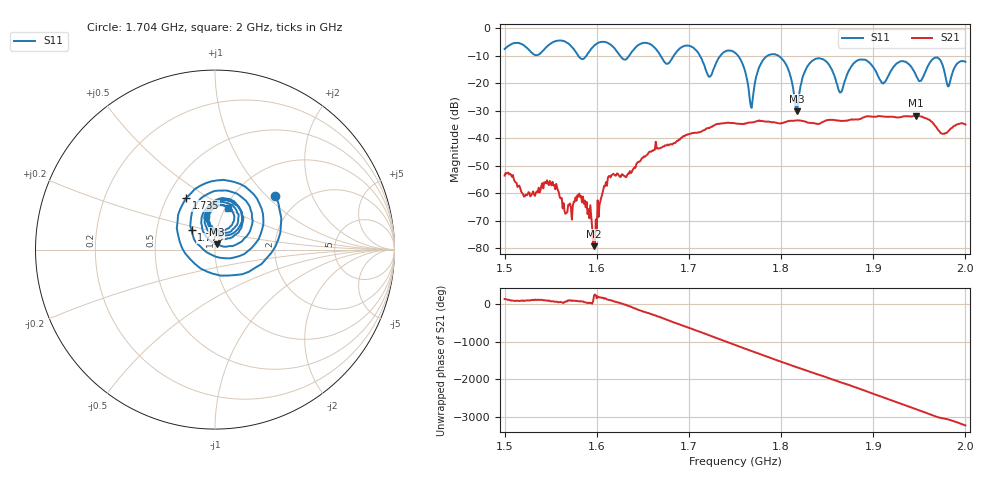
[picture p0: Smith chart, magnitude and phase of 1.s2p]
! NanoVNA-App by SYSJOINT et al v1.1.209 (+OD18)
! Date: 2026-01-21 14:43:31
! Start: 1,5GHz Stop: 2GHz Points: 501
! S-Parameter data: F S11 S21 S12 S22
# Hz S RI R 50
!  Frequency  S11_Real  S11_Imag  S21_Real  S21_Imag  S12_Real  S12_Imag  S22_Real  S22_Imag
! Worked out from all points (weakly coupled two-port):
!   501 points, 1.5 GHz to 2 GHz, reference 50 ohm
!   highest |S21| = -31.81 dB at 1.946 GHz (marker M1); lowest = -79.2 dB at 1.597 GHz (marker M2)
!   lowest |S11| = -30.2 dB at 1.817 GHz (marker M3), VSWR 1.06, Z = 50.8 + j3.01 ohm
!   |S11| at or under -10 dB: 1.712 GHz to 1.734 GHz (22.32 MHz wide, 1.3 % of centre); 1.753 GHz to 1.786 GHz (32.42 MHz wide, 1.83 % of centre); 1.797 GHz to end of sweep (the widest 3 of 6)
!   S12 and S22 are empty: the file has one direction only
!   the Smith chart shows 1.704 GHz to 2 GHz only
!   S11 on the Smith chart (normalised r, x): 1.704 GHz: 1.51, +1.13; 1.735 GHz: 0.62, +0.40; 1.775 GHz: 0.75, +0.17; 2 GHz: 1.03, +0.51
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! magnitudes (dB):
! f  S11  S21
! 1.5 GHz  -7.6  -53.6
! 1.567 GHz  -5.2  -67.1
! 1.584 GHz  -11.2  -63.3
! 1.597 GHz  -6.4  -79.2
! 1.614 GHz  -5.8  -53.7
! 1.667 GHz  -8.8  -43.8
! 1.704 GHz  -6.9  -38.1
! 1.722 GHz  -17.7  -36.3
! 1.735 GHz  -9.6  -34.7
! 1.75 GHz  -9.0  -34.6
! 1.767 GHz  -28.1  -34.3
! 1.775 GHz  -15.4  -33.7
! 1.799 GHz  -10.6  -34.6
! 1.817 GHz  -30.2  -33.5
! 1.834 GHz  -11.8  -34.5
! 1.864 GHz  -23.5  -33.7
! 1.884 GHz  -11.6  -33.1
! 1.917 GHz  -17.0  -32.2
! 1.946 GHz  -16.8  -31.8
! 1.969 GHz  -10.7  -36.3
! 1.982 GHz  -21.1  -37.3
! 2 GHz  -12.3  -35.0
